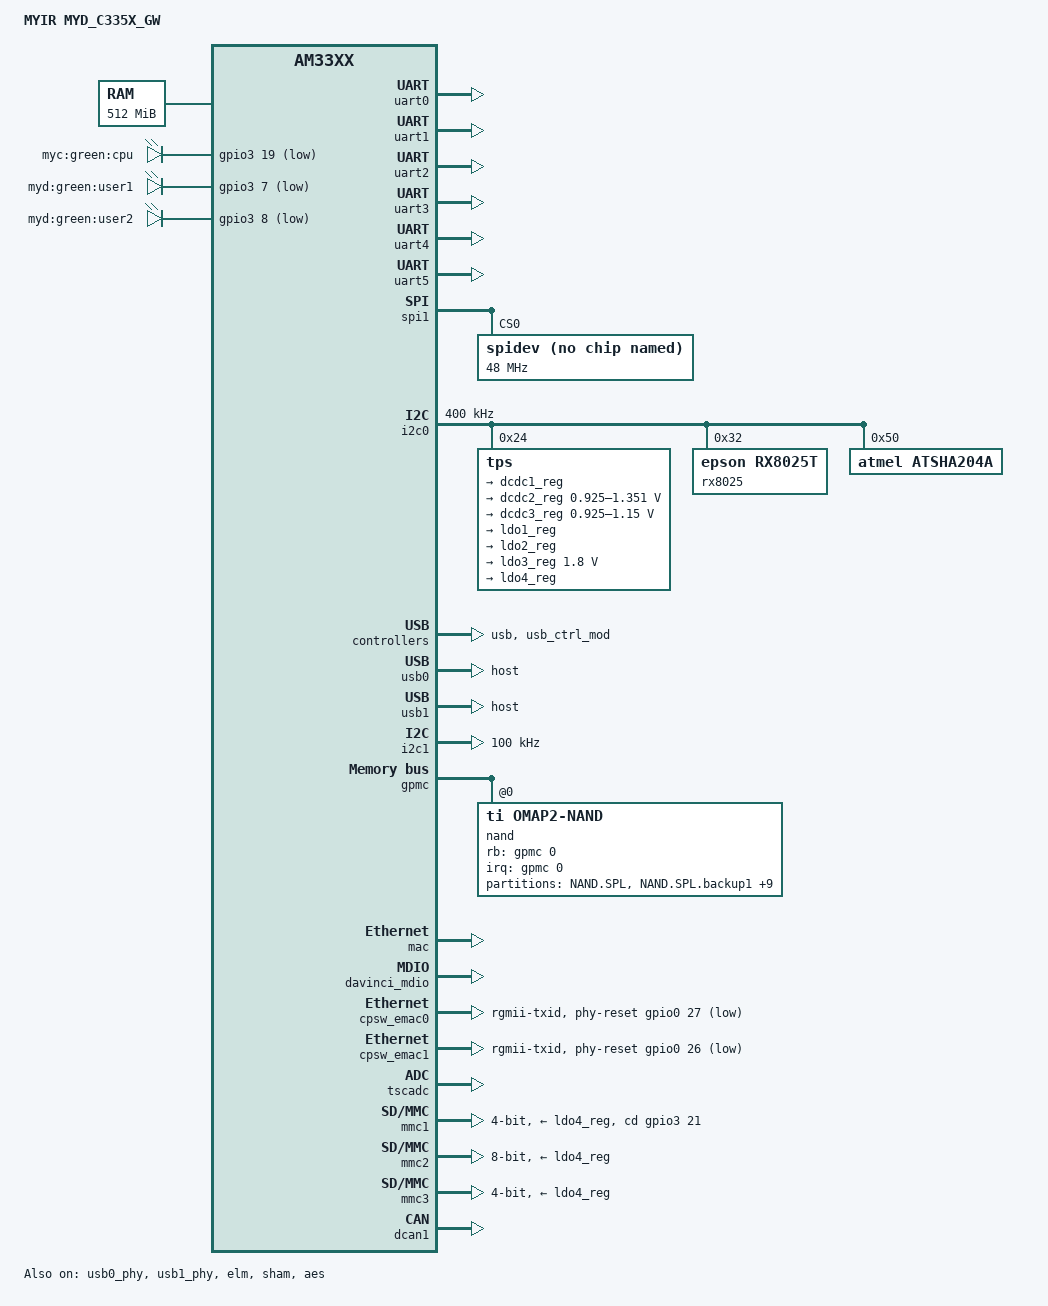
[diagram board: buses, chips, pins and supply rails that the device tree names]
/*
 * Copyright (C) 2012 Texas Instruments Incorporated - http://www.ti.com/
 *
 * This program is free software; you can redistribute it and/or modify
 * it under the terms of the GNU General Public License version 2 as
 * published by the Free Software Foundation.
 */
/dts-v1/;

#include "am33xx.dtsi"
#include <dt-bindings/interrupt-controller/irq.h>

/ {
	model = "MYIR MYD_C335X_GW";
	compatible = "ti,myd_c335x_gw", "ti,am33xx";

	cpus {
		cpu@0 {
			cpu0-supply = <&dcdc2_reg>;
		};
	};

	memory {
		device_type = "memory";
		reg = <0x80000000 0x20000000>; /* 512 MB */
	};
	chosen {
		stdout-path = &uart0;
	};

	gpio-leds {
		compatible = "gpio-leds";
		pinctrl-names = "default";
		pinctrl-0 = <&leds_pins>;

		D2 {
			label = "myc:green:cpu";
			gpios = <&gpio3 19 GPIO_ACTIVE_LOW>;
			linux,default-trigger = "cpu0";
			default-state = "off";
		};

		D12 {
			label = "myd:green:user1";
			gpios = <&gpio3 7 GPIO_ACTIVE_LOW>;
			default-state = "off";
		};

		D13 {
			label = "myd:green:user2";
			gpios = <&gpio3 8 GPIO_ACTIVE_LOW>;
			default-state = "off";
		};

	};
	/* 7.0 inch, 800x480 resolution LCD, MYiR */
	/*
	backlight {
		compatible = "pwm-backlight";
		pwms = <&ehrpwm0 0 50000 0>;
		brightness-levels = <0 51 53 56 62 75 101 152 255>;
		default-brightness-level = <8>;
	};*/

	/*panel {
		compatible = "ti,tilcdc,panel";
		status = "disabled";
		panel-info {
			ac-bias           = <255>;
			ac-bias-intrpt    = <0>;
			dma-burst-sz      = <16>;
			bpp               = <16>;
			fdd               = <0x80>;
			sync-edge         = <0>;
			sync-ctrl         = <1>;
			raster-order      = <0>;
			fifo-th           = <0>;
		};

		display-timings {
			800x480p62 {
				clock-frequency = <30000000>;
				hactive = <800>;
				vactive = <480>;
				hfront-porch = <39>;
				hback-porch = <39>;
				hsync-len = <47>;
				vback-porch = <29>;
				vfront-porch = <13>;
				vsync-len = <2>;
				hsync-active = <1>;
				vsync-active = <1>;
			};
		};
	};*/
	
	/* 4.3 inch, 480x272 resolution LCD, MYiR */
/*
	backlight {
		compatible = "pwm-backlight";
		pwms = <&ehrpwm0 0 50000 0>;
		brightness-levels = <0 51 53 56 62 75 101 152 255>;
		default-brightness-level = <8>;
	};
*/
	/*panel {
		compatible = "ti,tilcdc,panel";
		status = "okay";
		panel-info {
			ac-bias           = <255>;
			ac-bias-intrpt    = <0>;
			dma-burst-sz      = <16>;
			bpp               = <16>;
			fdd               = <0x80>;
			sync-edge         = <0>;
			sync-ctrl         = <1>;
			raster-order      = <0>;
			fifo-th           = <0>;
		};*/

		/*display-timings {
			480x272 {
				clock-frequency = <9600000>;
				hactive = <480>;
				vactive = <272>;
				hfront-porch = <2>;
				hback-porch = <2>;
				hsync-len = <41>;
				vback-porch = <2>;
				vfront-porch = <2>;
				vsync-len = <10>;
				hsync-active = <0>;
				vsync-active = <0>;
			};
		};
	};*/
	

};



&am33xx_pinmux {
	pinctrl-names = "default";
	pinctrl-0 = <&wlan_pins &phy_reset_pins_default &ec20_reset_pins_default>;

	dcan1_pins_default: pinmux_dcan1_pins_default {
		pinctrl-single,pins = <
			AM33XX_IOPAD(0x96c, PIN_INPUT | MUX_MODE2) /* (E17) uart0_rtsn.dcan1_rx */
			AM33XX_IOPAD(0x968, PIN_OUTPUT | MUX_MODE2) /* (E18) uart0_ctsn.dcan1_tx */
		>;
	};
	
	leds_pins: pinmux_leds_pins {
		pinctrl-single,pins = <
			0x1e4 (PIN_OUTPUT_PULLDOWN | MUX_MODE7)	 /* (C14) EMU0.gpio3[7] */
			0x1e8 (PIN_OUTPUT_PULLDOWN | MUX_MODE7)	 /* (B14) EMU1.gpio3[8] */
			0x1a4 (PIN_OUTPUT_PULLDOWN | MUX_MODE7)	/* (C13) mcasp0_fsr.gpio3[19] */
		>;
	};
	
	i2c0_pins: pinmux_i2c0_pins {
		pinctrl-single,pins = <
			0x188 (PIN_INPUT_PULLUP | MUX_MODE0)	/* i2c0_sda.i2c0_sda */
			0x18c (PIN_INPUT_PULLUP | MUX_MODE0)	/* i2c0_scl.i2c0_scl */
		>;
	};

	i2c1_pins_default: pinmux_i2c1_pins {
		pinctrl-single,pins = <
			0x158 (PIN_INPUT_PULLUP | MUX_MODE2)	/* spi0_d1.i2c1_sda */
			0x15c (PIN_INPUT_PULLUP | MUX_MODE2)	/* spi0_cs0.i2c1_scl */
		>;
	};

	i2c1_pins_sleep: i2c1_pins_sleep {
		pinctrl-single,pins = <
			0x158 (PIN_INPUT_PULLDOWN | MUX_MODE7)	/* spi0_d1.i2c1_sda */
			0x15c (PIN_INPUT_PULLDOWN | MUX_MODE7)	/* spi0_cs0.i2c1_scl */
		>;
	};

	uart0_pins: pinmux_uart0_pins {
		pinctrl-single,pins = <
			0x170 (PIN_INPUT_PULLUP | MUX_MODE0)	/* uart0_rxd.uart0_rxd */
			0x174 (PIN_OUTPUT_PULLDOWN | MUX_MODE0)	/* uart0_txd.uart0_txd */
		>;
	};

    uart1_pins_default: pinmux_uart1_pins_default {
        pinctrl-single,pins = <
		0x180 ( PIN_INPUT_PULLUP | MUX_MODE0 ) /* (D16) uart1_rxd.uart1_rxd */
		0x184 ( PIN_OUTPUT_PULLUP | MUX_MODE0 ) /* (D15) uart1_txd.uart1_txd */
		0x178 ( PIN_INPUT_PULLUP | MUX_MODE0 ) /* (D18) uart1_ctsn.uart1_ctsn */
		0x17c ( PIN_OUTPUT_PULLUP | MUX_MODE0 ) /* (D17) uart1_rtsn.uart1_rtsn */
                >;
        };

    uart1_pins_sleep: pinmux_uart1_pins_sleep {
		pinctrl-single,pins = <
		0x180 ( PIN_INPUT_PULLUP | MUX_MODE7 ) /* (D16) uart1_rxd.uart1_rxd */
		0x184 ( PIN_INPUT_PULLUP | MUX_MODE7 ) /* (D15) uart1_txd.uart1_txd */
		0x178 ( PIN_INPUT_PULLUP | MUX_MODE7 ) /* (D18) uart1_ctsn.uart1_ctsn */
		0x17c ( PIN_INPUT_PULLUP | MUX_MODE7 ) /* (D17) uart1_rtsn.uart1_rtsn */
                >;
        };


	uart2_pins_default: pinmux_uart2_pins_default {
		pinctrl-single,pins = <
			0x10c ( PIN_INPUT_PULLUP | MUX_MODE6 ) /* (H17) gmii1_crs.uart2_rxd */
			0x110 ( PIN_OUTPUT_PULLDOWN | MUX_MODE6 ) /* (J15) gmii1_rxer.uart2_txd */
		>;
	};

	uart2_pins_sleep: pinmux_uart2_pins_sleep {
		pinctrl-single,pins = <
			0x10C (PIN_INPUT_PULLDOWN | MUX_MODE7)
			0x110 (PIN_INPUT_PULLDOWN | MUX_MODE7)
		>;
	};
	uart3_pins_default: pinmux_uart3_pins_default {
		pinctrl-single,pins = <
			0x160 ( PIN_INPUT_PULLUP | MUX_MODE1 ) /* (C15) spi0_cs1.uart3_rxd */
			0x164 ( PIN_OUTPUT_PULLDOWN | MUX_MODE1 ) /* (C18) eCAP0_in_PWM0_out.uart3_txd */
			0x234 ( PIN_OUTPUT_PULLUP | MUX_MODE7 ) /* (F15) USB1_DRVVBUS.gpio3[13] */
		>;
	};

	uart3_pins_sleep: pinmux_uart3_pins_sleep {
		pinctrl-single,pins = <
			0x160 (PIN_INPUT_PULLDOWN | MUX_MODE7)
			0x164 (PIN_INPUT_PULLDOWN | MUX_MODE7)
			0x234 (PIN_OUTPUT_PULLUP | MUX_MODE7 ) /* (F15) USB1_DRVVBUS.gpio3[13] */
		>;
	};
	uart4_pins_default: uart4_pins_default {
		pinctrl-single,pins = <
			0x70 ( PIN_INPUT_PULLUP | MUX_MODE6 )    /* (T17) gpmc_wait0.uart4_rxd */
			0x74 ( PIN_OUTPUT_PULLDOWN | MUX_MODE6 ) /* (U17) gpmc_wpn.uart4_txd */
			0x78 (PIN_OUTPUT_PULLDOWN | MUX_MODE7)   /* (U18) gmii1_rxdv.GPIO1_28 */
		>;
	};

	uart4_pins_sleep: uart4_pins_sleep {
		pinctrl-single,pins = <
			0x70 ( PIN_INPUT_PULLDOWN | MUX_MODE6 ) /* (T17) uart4_ctsn.uart4_rxd */
			0x74 ( PIN_INPUT_PULLDOWN | MUX_MODE6 ) /* (U17) uart4_rtsn.uart4_txd */
			0x78 (PIN_OUTPUT_PULLDOWN | MUX_MODE7)   /* (U18) gmii1_rxdv.GPIO1_28 */
		>;
	};
	
	uart5_pins_default: uart5_pins_default {
		pinctrl-single,pins = <
			0x5A0 (PIN_INPUT_PULLDOWN  | MUX_MODE4)	   /*(U1) uart5_tx.uart5_txd */
			0x5A4 (PIN_OUTPUT_PULLUP   | MUX_MODE4)	   /*(U2) uart5_rx.uart5_rxd  */
			
		>;
	};
	uart5_pins_sleep: uart5_pins_sleep {
		pinctrl-single,pins = <
			0x5A0 (PIN_INPUT_PULLDOWN  | MUX_MODE4)	   /*(U1) uart5_tx.uart5_txd */
			0x5A4 (PIN_OUTPUT_PULLUP   | MUX_MODE4)	   /*(U2) uart5_rx.uart5_rxd  */
		>;
	};


	nandflash_pins_default: nandflash_pins_default {
		pinctrl-single,pins = <
			0x0 (PIN_INPUT_PULLUP | MUX_MODE0)	/* gpmc_ad0.gpmc_ad0 */
			0x4 (PIN_INPUT_PULLUP | MUX_MODE0)	/* gpmc_ad1.gpmc_ad1 */
			0x8 (PIN_INPUT_PULLUP | MUX_MODE0)	/* gpmc_ad2.gpmc_ad2 */
			0xc (PIN_INPUT_PULLUP | MUX_MODE0)	/* gpmc_ad3.gpmc_ad3 */
			0x10 (PIN_INPUT_PULLUP | MUX_MODE0)	/* gpmc_ad4.gpmc_ad4 */
			0x14 (PIN_INPUT_PULLUP | MUX_MODE0)	/* gpmc_ad5.gpmc_ad5 */
			0x18 (PIN_INPUT_PULLUP | MUX_MODE0)	/* gpmc_ad6.gpmc_ad6 */
			0x1c (PIN_INPUT_PULLUP | MUX_MODE0)	/* gpmc_ad7.gpmc_ad7 */
			0x70 (PIN_INPUT_PULLUP | MUX_MODE0)	/* gpmc_wait0.gpmc_wait0 */
			0x74 (PIN_INPUT_PULLUP | MUX_MODE7)	/* gpmc_wpn.gpio0_30 */
			0x7c (PIN_OUTPUT | MUX_MODE0)		/* gpmc_csn0.gpmc_csn0  */
			0x90 (PIN_OUTPUT | MUX_MODE0)		/* gpmc_advn_ale.gpmc_advn_ale */
			0x94 (PIN_OUTPUT | MUX_MODE0)		/* gpmc_oen_ren.gpmc_oen_ren */
			0x98 (PIN_OUTPUT | MUX_MODE0)		/* gpmc_wen.gpmc_wen */
			0x9c (PIN_OUTPUT | MUX_MODE0)		/* gpmc_be0n_cle.gpmc_be0n_cle */
		>;
	};

	nandflash_pins_sleep: nandflash_pins_sleep {
		pinctrl-single,pins = <
			0x0 (PIN_INPUT_PULLDOWN | MUX_MODE7)
			0x4 (PIN_INPUT_PULLDOWN | MUX_MODE7)
			0x8 (PIN_INPUT_PULLDOWN | MUX_MODE7)
			0xc (PIN_INPUT_PULLDOWN | MUX_MODE7)
			0x10 (PIN_INPUT_PULLDOWN | MUX_MODE7)
			0x14 (PIN_INPUT_PULLDOWN | MUX_MODE7)
			0x18 (PIN_INPUT_PULLDOWN | MUX_MODE7)
			0x1c (PIN_INPUT_PULLDOWN | MUX_MODE7)
			0x70 (PIN_INPUT_PULLDOWN | MUX_MODE7)
			0x74 (PIN_INPUT_PULLDOWN | MUX_MODE7)
			0x7c (PIN_INPUT_PULLDOWN | MUX_MODE7)
			0x90 (PIN_INPUT_PULLDOWN | MUX_MODE7)
			0x94 (PIN_INPUT_PULLDOWN | MUX_MODE7)
			0x98 (PIN_INPUT_PULLDOWN | MUX_MODE7)
			0x9c (PIN_INPUT_PULLDOWN | MUX_MODE7)
		>;
	};

	// ehrpwm0_pins_default: backlight_pins {
	// 	pinctrl-single,pins = <
	// 		0x150 0x3	/* (A17) spi0_sclk.ehrpwm0A */
	// 	>;
	// };

	// ehrpwm0_pins_sleep: ehrpwm0_pins_sleep {
	// 	pinctrl-single,pins = <
	// 		0x150  (PIN_INPUT_PULLDOWN | MUX_MODE3)	/* (A17) spi0_sclk.ehrpwm0A */
	// 	>;
	// };*/

	cpsw_default: cpsw_default {
		pinctrl-single,pins = <
			/* Slave 1 */
			0x114 (PIN_OUTPUT_PULLDOWN | MUX_MODE2)	/* mii1_txen.rgmii1_tctl */
			0x118 (PIN_INPUT_PULLDOWN | MUX_MODE2)	/* mii1_rxdv.rgmii1_rctl */
			0x11c (PIN_OUTPUT_PULLDOWN | MUX_MODE2)	/* mii1_txd3.rgmii1_td3 */
			0x120 (PIN_OUTPUT_PULLDOWN | MUX_MODE2)	/* mii1_txd2.rgmii1_td2 */
			0x124 (PIN_OUTPUT_PULLDOWN | MUX_MODE2)	/* mii1_txd1.rgmii1_td1 */
			0x128 (PIN_OUTPUT_PULLDOWN | MUX_MODE2)	/* mii1_txd0.rgmii1_td0 */
			0x12c (PIN_OUTPUT_PULLDOWN | MUX_MODE2)	/* mii1_txclk.rgmii1_tclk */
			0x130 (PIN_INPUT_PULLDOWN | MUX_MODE2)	/* mii1_rxclk.rgmii1_rclk */
			0x134 (PIN_INPUT_PULLDOWN | MUX_MODE2)	/* mii1_rxd3.rgmii1_rd3 */
			0x138 (PIN_INPUT_PULLDOWN | MUX_MODE2)	/* mii1_rxd2.rgmii1_rd2 */
			0x13c (PIN_INPUT_PULLDOWN | MUX_MODE2)	/* mii1_rxd1.rgmii1_rd1 */
			0x140 (PIN_INPUT_PULLDOWN | MUX_MODE2)	/* mii1_rxd0.rgmii1_rd0 */
		/* Slave 2 */
	 		0x40  (MUX_MODE2 | PIN_OUTPUT_PULLDOWN)  /* gpmc_a0.rgmii2_tctl */
			0x44  (MUX_MODE2 | PIN_INPUT_PULLDOWN) /* gpmc_a1.rgmii2_rctl */
			0x48  (MUX_MODE2 | PIN_OUTPUT_PULLDOWN) /* gpmc_a2.rgmii2_td3 */
			0x4c  (MUX_MODE2 | PIN_OUTPUT_PULLDOWN) /* gpmc_a3.rgmii2_td2 */
			0x50  (MUX_MODE2 | PIN_OUTPUT_PULLDOWN) /* gpmc_a4.rgmii2_td1 */
			0x54  (MUX_MODE2 | PIN_OUTPUT_PULLDOWN) /* gpmc_a5.rgmii2_td0 */
			0x58  (MUX_MODE2 | PIN_OUTPUT_PULLDOWN) /* gpmc_a6.rgmii2_tclk */
			0x5c  (MUX_MODE2 | PIN_INPUT_PULLDOWN) /* gpmc_a7.rgmii2_rclk */
			0x60  (MUX_MODE2 | PIN_INPUT_PULLDOWN) /* gpmc_a8.rgmii2_rd3 */
			0x64  (MUX_MODE2 | PIN_INPUT_PULLDOWN) /* gpmc_a9.rgmii2_rd2 */
			0x68  (MUX_MODE2 | PIN_INPUT_PULLDOWN) /* gpmc_a10.rgmii2_rd1 */
			0x6c  (MUX_MODE2 | PIN_INPUT_PULLDOWN) /* gpmc_a11.rgmii2_rd0 */

		>;
	};

	cpsw_sleep: cpsw_sleep {
		pinctrl-single,pins = <
			/* Slave 1 reset value */
			0x114 (PIN_INPUT_PULLDOWN | MUX_MODE7)
			0x118 (PIN_INPUT_PULLDOWN | MUX_MODE7)
			0x11c (PIN_INPUT_PULLDOWN | MUX_MODE7)
			0x120 (PIN_INPUT_PULLDOWN | MUX_MODE7)
			0x124 (PIN_INPUT_PULLDOWN | MUX_MODE7)
			0x128 (PIN_INPUT_PULLDOWN | MUX_MODE7)
			0x12c (PIN_INPUT_PULLDOWN | MUX_MODE7)
			0x130 (PIN_INPUT_PULLDOWN | MUX_MODE7)
			0x134 (PIN_INPUT_PULLDOWN | MUX_MODE7)
			0x138 (PIN_INPUT_PULLDOWN | MUX_MODE7)
			0x13c (PIN_INPUT_PULLDOWN | MUX_MODE7)
			0x140 (PIN_INPUT_PULLDOWN | MUX_MODE7)
		/* Slave 2 reset value */
	 		0x40  (PIN_INPUT_PULLDOWN | MUX_MODE7)  /* gpmc_a0.rgmii2_tctl */
			0x44  (PIN_INPUT_PULLDOWN | MUX_MODE7) /* gpmc_a1.rgmii2_rctl */
			0x48  (PIN_INPUT_PULLDOWN | MUX_MODE7) /* gpmc_a2.rgmii2_td3 */
			0x4c  (PIN_INPUT_PULLDOWN | MUX_MODE7) /* gpmc_a3.rgmii2_td2 */
			0x50  (PIN_INPUT_PULLDOWN | MUX_MODE7) /* gpmc_a4.rgmii2_td1 */
			0x54  (PIN_INPUT_PULLDOWN | MUX_MODE7) /* gpmc_a5.rgmii2_td0 */
			0x58  (PIN_INPUT_PULLDOWN | MUX_MODE7) /* gpmc_a6.rgmii2_tclk */
			0x5c  (PIN_INPUT_PULLDOWN | MUX_MODE7) /* gpmc_a7.rgmii2_rclk */
			0x60  (PIN_INPUT_PULLDOWN | MUX_MODE7) /* gpmc_a8.rgmii2_rd3 */
			0x64  (PIN_INPUT_PULLDOWN | MUX_MODE7) /* gpmc_a9.rgmii2_rd2 */
			0x68  (PIN_INPUT_PULLDOWN | MUX_MODE7) /* gpmc_a10.rgmii2_rd1 */
			0x6c  (PIN_INPUT_PULLDOWN | MUX_MODE7) /* gpmc_a11.rgmii2_rd0 */
		>;
	};

	davinci_mdio_default: davinci_mdio_default {
		pinctrl-single,pins = <
			/* MDIO */
			0x148 (PIN_INPUT_PULLUP | SLEWCTRL_FAST | MUX_MODE0)	/* mdio_data.mdio_data */
			0x14c (PIN_OUTPUT_PULLUP | MUX_MODE0)			/* mdio_clk.mdio_clk */
		>;
	};

	davinci_mdio_sleep: davinci_mdio_sleep {
		pinctrl-single,pins = <
			/* MDIO reset value */
			0x148 (PIN_INPUT_PULLDOWN | MUX_MODE7)
			0x14c (PIN_INPUT_PULLDOWN | MUX_MODE7)
		>;
	};

	mmc1_pins_default: pinmux_mmc1_pins {
		pinctrl-single,pins = <
			0x0F0 (PIN_INPUT_PULLUP | MUX_MODE0)    /* mmc0_dat3.mmc0_dat3 */
			0x0F4 (PIN_INPUT_PULLUP | MUX_MODE0)    /* mmc0_dat2.mmc0_dat2 */
			0x0F8 (PIN_INPUT_PULLUP | MUX_MODE0)    /* mmc0_dat1.mmc0_dat1 */
			0x0FC (PIN_INPUT_PULLUP | MUX_MODE0)    /* mmc0_dat0.mmc0_dat0 */
			0x100 (PIN_INPUT_PULLUP | MUX_MODE0)    /* mmc0_clk.mmc0_clk */
			0x104 (PIN_INPUT_PULLUP | MUX_MODE0)    /* mmc0_cmd.mmc0_cmd */
			0x1AC (PIN_INPUT_PULLUP | MUX_MODE7)    /* mcasp0_ahclkx.gpio3_21 */
			
		>;
	};

	mmc1_pins_sleep: pinmux_mmc1_pins_sleep {
		pinctrl-single,pins = <
			0x0F0 (PIN_INPUT_PULLDOWN | MUX_MODE7)
			0x0F4 (PIN_INPUT_PULLDOWN | MUX_MODE7)
			0x0F8 (PIN_INPUT_PULLDOWN | MUX_MODE7)
			0x0FC (PIN_INPUT_PULLDOWN | MUX_MODE7)
			0x100 (PIN_INPUT_PULLDOWN | MUX_MODE7)
			0x104 (PIN_INPUT_PULLDOWN | MUX_MODE7)
			0x1AC (PIN_INPUT_PULLDOWN | MUX_MODE7)
		>;
	};

	emmc_pins: pinmux_emmc {
		pinctrl-single,pins = <
			0x80 (PIN_INPUT_PULLUP | MUX_MODE2)	/* gpmc_csn1.mmc1_clk */
			0x84 (PIN_INPUT_PULLUP | MUX_MODE2)	/* gpmc_csn2.mmc1_cmd */
			0x00 (PIN_INPUT_PULLUP | MUX_MODE1)	/* gpmc_ad0.mmc1_dat0 */
			0x04 (PIN_INPUT_PULLUP | MUX_MODE1)	/* gpmc_ad1.mmc1_dat1 */
			0x08 (PIN_INPUT_PULLUP | MUX_MODE1)	/* gpmc_ad2.mmc1_dat2 */
			0x0c (PIN_INPUT_PULLUP | MUX_MODE1)	/* gpmc_ad3.mmc1_dat3 */
			0x10 (PIN_INPUT_PULLUP | MUX_MODE1)	/* gpmc_ad4.mmc1_dat4 */
			0x14 (PIN_INPUT_PULLUP | MUX_MODE1)	/* gpmc_ad5.mmc1_dat5 */
			0x18 (PIN_INPUT_PULLUP | MUX_MODE1)	/* gpmc_ad6.mmc1_dat6 */
			0x1c (PIN_INPUT_PULLUP | MUX_MODE1)	/* gpmc_ad7.mmc1_dat7 */
			/* EMMC nReset */
			0x1a0 (PIN_OUTPUT_PULLUP | MUX_MODE7)	/* gpmc_wpn.gpio3_18 */
		>;
	};

	/* ap6212 card on mmc3 */
	mmc3_pins: pinmux_mmc3_pins {
		pinctrl-single,pins = <
			0x30 (PIN_INPUT_PULLUP | MUX_MODE3)	/* gpmc_a12.mmc2_dat0, INPUT_PULLUP | MODE3 */
			0x34 (PIN_INPUT_PULLUP | MUX_MODE3)	/* gpmc_a13.mmc2_dat1, INPUT_PULLUP | MODE3 */
			0x38 (PIN_INPUT_PULLUP | MUX_MODE3)	/* gpmc_a14.mmc2_dat2, INPUT_PULLUP | MODE3 */
			0x3c (PIN_INPUT_PULLUP | MUX_MODE3)	/* gpmc_a15.mmc2_dat3, INPUT_PULLUP | MODE3 */
			0x88 (PIN_INPUT_PULLUP | MUX_MODE3)	/* gpmc_csn3.mmc2_cmd, INPUT_PULLUP | MODE3 */
			0x8C (PIN_INPUT_PULLUP | MUX_MODE3)	/* gpmc_clk.mmc2_clk, INPUT_PULLUP | MODE3 */
		>;
	};

	/* AP6212 GPIOs. */
	wlan_pins: pinmux_wlan_pins {
		pinctrl-single,pins = <
			0x20 (PIN_OUTPUT_PULLDOWN | MUX_MODE7)	/* WL_REG_ON gpmc_ad7.gpio0_22 */
			0x24 (PIN_INPUT | MUX_MODE7)		/* BT_GPS_RST_N gpmc_ad9.gpio0_23 */
		>;
	};

// 	lcd_pins_default: lcd_pins_default {
// 		pinctrl-single,pins = <
// //			0x20 (PIN_OUTPUT | MUX_MODE1)		/* gpmc_ad8.lcd_data23 */
// //			0x24 (PIN_OUTPUT | MUX_MODE1)		/* gpmc_ad9.lcd_data22 */
// //			0x28 (PIN_OUTPUT | MUX_MODE1)		/* gpmc_ad10.lcd_data21 */
// //			0x2c (PIN_OUTPUT | MUX_MODE1)		/* gpmc_ad11.lcd_data20 */
// //			0x30 (PIN_OUTPUT | MUX_MODE1)		/* gpmc_ad12.lcd_data19 */
// //			0x34 (PIN_OUTPUT | MUX_MODE1)		/* gpmc_ad13.lcd_data18 */
// //			0x38 (PIN_OUTPUT | MUX_MODE1)		/* gpmc_ad14.lcd_data17 */
// //			0x3c (PIN_OUTPUT | MUX_MODE1)		/* gpmc_ad15.lcd_data16 */
// 			0xa0 (PIN_OUTPUT | MUX_MODE0)		/* lcd_data0.lcd_data0 */
// 			0xa4 (PIN_OUTPUT | MUX_MODE0)		/* lcd_data1.lcd_data1 */
// 			0xa8 (PIN_OUTPUT | MUX_MODE0)		/* lcd_data2.lcd_data2 */
// 			0xac (PIN_OUTPUT | MUX_MODE0)		/* lcd_data3.lcd_data3 */
// 			0xb0 (PIN_OUTPUT | MUX_MODE0)		/* lcd_data4.lcd_data4 */
// 			0xb4 (PIN_OUTPUT | MUX_MODE0)		/* lcd_data5.lcd_data5 */
// 			0xb8 (PIN_OUTPUT | MUX_MODE0)		/* lcd_data6.lcd_data6 */
// 			0xbc (PIN_OUTPUT | MUX_MODE0)		/* lcd_data7.lcd_data7 */
// 			0xc0 (PIN_OUTPUT | MUX_MODE0)		/* lcd_data8.lcd_data8 */
// 			0xc4 (PIN_OUTPUT | MUX_MODE0)		/* lcd_data9.lcd_data9 */
// 			0xc8 (PIN_OUTPUT | MUX_MODE0)		/* lcd_data10.lcd_data10 */
// 			0xcc (PIN_OUTPUT | MUX_MODE0)		/* lcd_data11.lcd_data11 */
// 			0xd0 (PIN_OUTPUT | MUX_MODE0)		/* lcd_data12.lcd_data12 */
// 			0xd4 (PIN_OUTPUT | MUX_MODE0)		/* lcd_data13.lcd_data13 */
// 			0xd8 (PIN_OUTPUT | MUX_MODE0)		/* lcd_data14.lcd_data14 */
// 			0xdc (PIN_OUTPUT | MUX_MODE0)		/* lcd_data15.lcd_data15 */
// 			0xe0 (PIN_OUTPUT | MUX_MODE0)		/* lcd_vsync.lcd_vsync */
// 			0xe4 (PIN_OUTPUT | MUX_MODE0)		/* lcd_hsync.lcd_hsync */
// 			0xe8 (PIN_OUTPUT | MUX_MODE0)		/* lcd_pclk.lcd_pclk */
// 			0xec (PIN_OUTPUT | MUX_MODE0)		/* lcd_ac_bias_en.lcd_ac_bias_en */
// 		>;
// 	};

// 	lcd_pins_sleep: lcd_pins_sleep {
// 		pinctrl-single,pins = <
// //			0x20 (PIN_INPUT_PULLDOWN | MUX_MODE7)	/* gpmc_ad8.lcd_data16 */
// //			0x24 (PIN_INPUT_PULLDOWN | MUX_MODE7)	/* gpmc_ad9.lcd_data17 */
// //			0x28 (PIN_INPUT_PULLDOWN | MUX_MODE7)	/* gpmc_ad10.lcd_data18 */
// //			0x2c (PIN_INPUT_PULLDOWN | MUX_MODE7)	/* gpmc_ad11.lcd_data19 */
// //			0x30 (PIN_INPUT_PULLDOWN | MUX_MODE7)	/* gpmc_ad12.lcd_data20 */
// //			0x34 (PIN_INPUT_PULLDOWN | MUX_MODE7)	/* gpmc_ad13.lcd_data21 */
// //			0x38 (PIN_INPUT_PULLDOWN | MUX_MODE7)	/* gpmc_ad14.lcd_data22 */
// //			0x3c (PIN_INPUT_PULLDOWN | MUX_MODE7)	/* gpmc_ad15.lcd_data23 */
// 			0xa0 (PULL_DISABLE | MUX_MODE7)		/* lcd_data0.lcd_data0 */
// 			0xa4 (PULL_DISABLE | MUX_MODE7)		/* lcd_data1.lcd_data1 */
// 			0xa8 (PULL_DISABLE | MUX_MODE7)		/* lcd_data2.lcd_data2 */
// 			0xac (PULL_DISABLE | MUX_MODE7)		/* lcd_data3.lcd_data3 */
// 			0xb0 (PULL_DISABLE | MUX_MODE7)		/* lcd_data4.lcd_data4 */
// 			0xb4 (PULL_DISABLE | MUX_MODE7)		/* lcd_data5.lcd_data5 */
// 			0xb8 (PULL_DISABLE | MUX_MODE7)		/* lcd_data6.lcd_data6 */
// 			0xbc (PULL_DISABLE | MUX_MODE7)		/* lcd_data7.lcd_data7 */
// 			0xc0 (PULL_DISABLE | MUX_MODE7)		/* lcd_data8.lcd_data8 */
// 			0xc4 (PULL_DISABLE | MUX_MODE7)		/* lcd_data9.lcd_data9 */
// 			0xc8 (PULL_DISABLE | MUX_MODE7)		/* lcd_data10.lcd_data10 */
// 			0xcc (PULL_DISABLE | MUX_MODE7)		/* lcd_data11.lcd_data11 */
// 			0xd0 (PULL_DISABLE | MUX_MODE7)		/* lcd_data12.lcd_data12 */
// 			0xd4 (PULL_DISABLE | MUX_MODE7)		/* lcd_data13.lcd_data13 */
// 			0xd8 (PULL_DISABLE | MUX_MODE7)		/* lcd_data14.lcd_data14 */
// 			0xdc (PULL_DISABLE | MUX_MODE7)		/* lcd_data15.lcd_data15 */
// 			0xe0 (PIN_INPUT_PULLDOWN | MUX_MODE7)	/* lcd_vsync.lcd_vsync, OUTPUT | MODE0 */
// 			0xe4 (PIN_INPUT_PULLDOWN | MUX_MODE7)	/* lcd_hsync.lcd_hsync */
// 			0xe8 (PIN_INPUT_PULLDOWN | MUX_MODE7)	/* lcd_pclk.lcd_pclk */
// 			0xec (PIN_INPUT_PULLDOWN | MUX_MODE7)	/* lcd_ac_bias_en.lcd_ac_bias_en */
// 		>;
// 	};


	spi1_pins_default: spi1_pins_default {
		pinctrl-single,pins = <
			0x190 ( PIN_INPUT | MUX_MODE3 ) /* (A13) mcasp0_aclkx.spi1_sclk */
			0x194 ( PIN_INPUT | MUX_MODE3 ) /* (B13) mcasp0_fsx.spi1_d0 */
			0x198 ( PIN_INPUT | MUX_MODE3 ) /* (D12) mcasp0_axr0.spi1_d1 */
			0x19c ( PIN_INPUT | MUX_MODE3 ) /* (C12) mcasp0_ahclkr.spi1_cs0 */
		>;
	};
	
	phy_reset_pins_default: phy_reset_pins_default {
		pinctrl-single,pins = <
		0x28 ( PIN_OUTPUT_PULLUP | MUX_MODE7 ) /* (T11) gpmc_ad10.gpio0[26] */
		0x2c ( PIN_OUTPUT_PULLUP | MUX_MODE7 ) /* (U12) gpmc_ad11.gpio0[27] */
		>;
	};
	ec20_reset_pins_default: ec20_reset_pins_default{
		pinctrl-single,pins = <
			0x21c ( PIN_OUTPUT_PULLDOWN | MUX_MODE7 ) /* (F16) USB0_DRVVBUS.gpio0[18] */
		>;
	};
	ft5x0x_pins_default: ft5x0x_pins_default {
		pinctrl-single,pins = <
		0x154 ( PIN_INPUT_PULLDOWN | MUX_MODE7 ) /* (B17) spi0_d0.gpio0[3] */
		0x1a8 ( PIN_INPUT_PULLDOWN | MUX_MODE7 ) /* (D13) mcasp0_axr1.gpio3[20] */
		>;
	};
	
		
};

&uart0 {
	pinctrl-names = "default";
	pinctrl-0 = <&uart0_pins>;

	status = "okay";
};


&uart1 {
	pinctrl-names = "default", "sleep";
	pinctrl-0 = <&uart1_pins_default>;
	pinctrl-1 = <&uart1_pins_sleep>;

	status = "okay";
};

&uart2 {
	pinctrl-names = "default", "sleep";
	pinctrl-0 = <&uart2_pins_default>;
	pinctrl-1 = <&uart2_pins_sleep>;
	status = "okay";
};	
&uart3 {
	pinctrl-names = "default", "sleep";
	pinctrl-0 = <&uart3_pins_default>;
	pinctrl-1 = <&uart3_pins_sleep>;
	rts-gpio = <&gpio3 13 GPIO_ACTIVE_HIGH>;
	rs485-rts-active-high;
	rs485-rts-delay = <1 1>;
	linux,rs485-enabled-at-boot-time;
	status = "okay";
};
&uart4 {
	pinctrl-names = "default", "sleep";
	pinctrl-0 = <&uart4_pins_default>;
	pinctrl-1 = <&uart4_pins_sleep>;
	linux,rs485-enabled-at-boot-time;
	rs485-rts-delay = <0 0>; // <a b> a for start of packet, b end of packet in milliseconds
	rs485-rts-active-high; // sets rts active high
	rts-gpio = <&gpio1 28 GPIO_ACTIVE_HIGH>;
	status = "okay";
};
&uart5 {
	pinctrl-names = "default", "sleep";
	pinctrl-0 = <&uart5_pins_default>;
	pinctrl-1 = <&uart5_pins_sleep>;

	status = "okay";
};

&spi1 {
	status = "okay";
	pinctrl-names = "default";
	pinctrl-0 = <&spi1_pins_default>;
	ti,pindir-d0-in-d1-out =<1>; // optional

	spidev@0{
		compatible = "rohm,dh2228fv";
		spi-max-frequency = <48000000>;
		reg =<0x0>;
		};
};

&i2c0 {
	pinctrl-names = "default";
	pinctrl-0 = <&i2c0_pins>;

	status = "okay";
	clock-frequency = <400000>;

	tps: tps@24 {
		reg = <0x24>;
	};
	
	rx8025: rx8025@32 {
		compatible = "epson,rx8025t";
		reg = <0x32>;
	};

    atsha204a@50 {
        compatible = "atmel,atsha204a";
        reg = <0x50>;
    };

};

&usb {
	status = "okay";
};

&usb_ctrl_mod {
	status = "okay";
};

&usb0_phy {
	status = "okay";

	
};

&usb1_phy {
	status = "okay";

};

&usb0 {
	status = "okay";
	dr_mode = "host";
};

&usb1 {
	status = "okay";
	dr_mode = "host";

};

&cppi41dma  {
	status = "okay";
};

&i2c1 {
	pinctrl-names = "default", "sleep";
	pinctrl-0 = <&i2c1_pins_default>;
	pinctrl-1 = <&i2c1_pins_sleep>;

	status = "okay";
	clock-frequency = <100000>;



};
/*
&lcdc {
	status = "disabled";
	pinctrl-names = "default", "sleep";
	pinctrl-0 = <&lcd_pins_default>;
	pinctrl-1 = <&lcd_pins_sleep>;
};
*/
&elm {
	status = "okay";
};

/*&epwmss0 {
	status = "okay";

	ehrpwm0: pwm@48300200 {
		status = "okay";
		pinctrl-names = "default", "sleep";
		pinctrl-0 = <&ehrpwm0_pins_default>;
		pinctrl-1 = <&ehrpwm0_pins_sleep>;
	};
};*/

&gpmc {
	status = "okay";
	pinctrl-names = "default", "sleep";
	pinctrl-0 = <&nandflash_pins_default>;
	pinctrl-1 = <&nandflash_pins_sleep>;
	ranges = <0 0 0x08000000 0x1000000>;	/* CS0: 16MB for NAND */
	nand@0,0 {
		compatible = "ti,omap2-nand";
		reg = <0 0 4>; /* CS0, offset 0, IO size 4 */
		interrupt-parent = <&gpmc>;
		interrupts = <0 IRQ_TYPE_NONE>, /* fifoevent */
			     <1 IRQ_TYPE_NONE>;	/* termcount */
		rb-gpios = <&gpmc 0 GPIO_ACTIVE_HIGH>; /* gpmc_wait0 */
		ti,nand-xfer-type = "prefetch-dma";
		ti,nand-ecc-opt = "bch8";
		ti,elm-id = <&elm>;
		nand-bus-width = <8>;
		gpmc,device-width = <1>;
		gpmc,sync-clk-ps = <0>;
		gpmc,cs-on-ns = <0>;
		gpmc,cs-rd-off-ns = <44>;
		gpmc,cs-wr-off-ns = <44>;
		gpmc,adv-on-ns = <6>;
		gpmc,adv-rd-off-ns = <34>;
		gpmc,adv-wr-off-ns = <44>;
		gpmc,we-on-ns = <0>;
		gpmc,we-off-ns = <40>;
		gpmc,oe-on-ns = <0>;
		gpmc,oe-off-ns = <54>;
		gpmc,access-ns = <64>;
		gpmc,rd-cycle-ns = <82>;
		gpmc,wr-cycle-ns = <82>;
		gpmc,bus-turnaround-ns = <0>;
		gpmc,cycle2cycle-delay-ns = <0>;
		gpmc,clk-activation-ns = <0>;
		gpmc,wr-access-ns = <40>;
		gpmc,wr-data-mux-bus-ns = <0>;
		/* MTD partition table */
		/* All SPL-* partitions are sized to minimal length
		 * which can be independently programmable. For
		 * NAND flash this is equal to size of erase-block */
		#address-cells = <1>;
		#size-cells = <1>;
		partition@0 {
			label = "NAND.SPL";
			reg = <0x00000000 0x000020000>;
		};
		partition@1 {
			label = "NAND.SPL.backup1";
			reg = <0x00020000 0x00020000>;
		};
		partition@2 {
			label = "NAND.SPL.backup2";
			reg = <0x00040000 0x00020000>;
		};
		partition@3 {
			label = "NAND.SPL.backup3";
			reg = <0x00060000 0x00020000>;
		};
		partition@4 {
			label = "NAND.u-boot-spl-os";
			reg = <0x00080000 0x00040000>;
		};
		partition@5 {
			label = "NAND.u-boot";
			reg = <0x000C0000 0x00100000>;
		};
		partition@6 {
			label = "NAND.u-boot-env";
			reg = <0x001C0000 0x00020000>;
		};
		partition@7 {
			label = "NAND.u-boot-env.backup1";
			reg = <0x001E0000 0x00020000>;
		};
		partition@8 {
			label = "NAND.kernel";
			reg = <0x00200000 0x00800000>;
		};
		partition@9 {
			label = "NAND.rootfs";
			reg = <0x00A00000 0x0D600000>;
		};
		partition@10 {
			label = "NAND.userdata";
			reg = <0x0E000000 0>;
		};		
	};
};

#include "tps65217.dtsi"

&tps {

	interrupts = <7>; /* NMI */
	interrupt-parent = <&intc>;

	ti,pmic-shutdown-controller;

	charger {
		interrupts = <0>, <1>;
		interrupt-names = "USB", "AC";
		status = "okay";
	};
	pwrbutton {
		interrupts = <2>;
		interrupt-names = "PB";
		status = "okay";
	};

	regulators {
		dcdc1_reg: regulator@0 {
			regulator-name = "vdds_dpr";
			regulator-always-on;
		};

		dcdc2_reg: regulator@1 {
			/* VDD_MPU voltage limits 0.95V - 1.325V with +/-4% tolerance */
            regulator-name = "vdd_mpu";
            regulator-min-microvolt = <925000>;
            regulator-max-microvolt = <1351500>;
            regulator-boot-on;
            regulator-always-on;
		};

		dcdc3_reg: regulator@2 {
			/* VDD_CORE voltage limits 0.95V - 1.1V with +/-4% tolerance */
			regulator-name = "vdd_core";
			regulator-min-microvolt = <925000>;
			regulator-max-microvolt = <1150000>;
			regulator-boot-on;
			regulator-always-on;
		};

		ldo1_reg: regulator@3 {
			regulator-name = "vio,vrtc,vdds";
			regulator-always-on;
		};

		ldo2_reg: regulator@4 {
			regulator-name = "vdd_3v3aux";
			regulator-always-on;
		};

		ldo3_reg: regulator@5 {
			regulator-name = "vdd_1v8";
			regulator-min-microvolt = <1800000>;
			regulator-max-microvolt = <1800000>;
			regulator-always-on;
		};

		ldo4_reg: regulator@6 {
			regulator-name = "vdd_3v3a";
			regulator-always-on;
		};
	};
};


// &mac {
// 	pinctrl-names = "default";
// 	pinctrl-0 = <&cpsw_default>;
// 	//pinctrl-1 = <&cpsw_sleep>;
// 	slaves = <2>;
// 	dual_emac = <1>;
// 	status = "okay";
// };

// &davinci_mdio {
// 	pinctrl-names = "default";
// 	pinctrl-0 = <&davinci_mdio_default>;
// 	//pinctrl-1 = <&davinci_mdio_sleep>;
// 	status = "disabled";
// };

&gpio0 {
       status="okay";
       ti,no-reset-on-init;
    };


// &cpsw_emac0 {
// 	phy_id = <&davinci_mdio>, <1>;
// 	phy-mode = "rgmii-txid";
// 	dual_emac_res_vlan=<1>;
// };

// &cpsw_emac1 {
// 	phy_id = <&davinci_mdio>, <0>;
// 	phy-mode = "rgmii-txid";
// 	dual_emac_res_vlan=<2>;
// };

// &cpsw_emac0 {
// 	phy-mode = "rgmii-rxid";
// 	dual_emac_res_vlan=<1>;
// };

// &cpsw_emac1 {
// 	phy-mode = "rgmii-rxid";
// 	dual_emac_res_vlan=<2>;
// };
&mac {	
	slaves = <2>;	
	pinctrl-names = "default", "sleep";	
	pinctrl-0 = <&cpsw_default>;	
	pinctrl-1 = <&cpsw_sleep>;	
	dual_emac = <1>;	
//	active_slave = <1>;	
	status = "okay";	
};	
&davinci_mdio {	
	pinctrl-names = "default", "sleep";	
	pinctrl-0 = <&davinci_mdio_default>;	
	pinctrl-1 = <&davinci_mdio_sleep>;	
	status = "okay";	
};	
&gpio0 {	
       status="okay";	
       ti,no-reset-on-init;	
    };	
&cpsw_emac0 {	
	phy_id = <&davinci_mdio>, <0>;	
	phy-mode = "rgmii-txid";	
	phy-reset-gpios = <&gpio0 27 GPIO_ACTIVE_HIGH>;	
//	dual_emac_res_vlan=<0>;	
};	
&cpsw_emac1 {	
	phy_id = <&davinci_mdio>, <1>;	
	phy-mode = "rgmii-txid";	
	phy-reset-gpios = <&gpio0 26 GPIO_ACTIVE_HIGH>;	
//	dual_emac_res_vlan=<1>;	
};


&tscadc {
	status = "okay";
	tsc {
		ti,wires = <4>;
		ti,x-plate-resistance = <200>;
		ti,coordinate-readouts = <5>;
		ti,wire-config = <0x00 0x11 0x22 0x33>;
		ti,charge-delay = <0x400>;
	};

	adc {
		ti,adc-channels = <4 5 6 7>;
	};
};

&mmc1 {
	status = "okay";
	vmmc-supply = <&ldo4_reg>;
	bus-width = <4>;
	pinctrl-names = "default", "sleep";
	pinctrl-0 = <&mmc1_pins_default>;
	pinctrl-1 = <&mmc1_pins_sleep>;
	cd-gpios = <&gpio3 21 GPIO_ACTIVE_HIGH>;
};

&mmc2 {
	/* eMMC (not populated) on MMC #2 */
	status = "okay";
	pinctrl-names = "default";
	pinctrl-0 = <&emmc_pins>;
	vmmc-supply = <&ldo4_reg>;
	bus-width = <8>;
	ti,non-removable;
};

&mmc3 {
	/* these are on the crossbar and are outlined in the
	   xbar-event-map element */
	dmas = <&edma_xbar 12 0 1
		&edma_xbar 13 0 2>;
	dma-names = "tx", "rx";
	status = "okay";
	vmmc-supply = <&ldo4_reg>;
	bus-width = <4>;
	max-frequency = <25000000>;
	pinctrl-names = "default";
	pinctrl-0 = <&mmc3_pins>;
	ti,non-removable;
	ti,needs-special-hs-handling;
	cap-power-off-card;
	keep-power-in-suspend;
	};

&sham {
	status = "okay";
};

&aes {
	status = "okay";
};

&rtc {

	status = "disabled";
};


&wkup_m3_ipc {
	ti,scale-data-fw = "am335x-evm-scale-data.bin";
};

&dcan1 {
	status = "okay";
	pinctrl-names = "default";
	pinctrl-0 = <&dcan1_pins_default>;
};

&sgx {
	status = "disabled";
};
